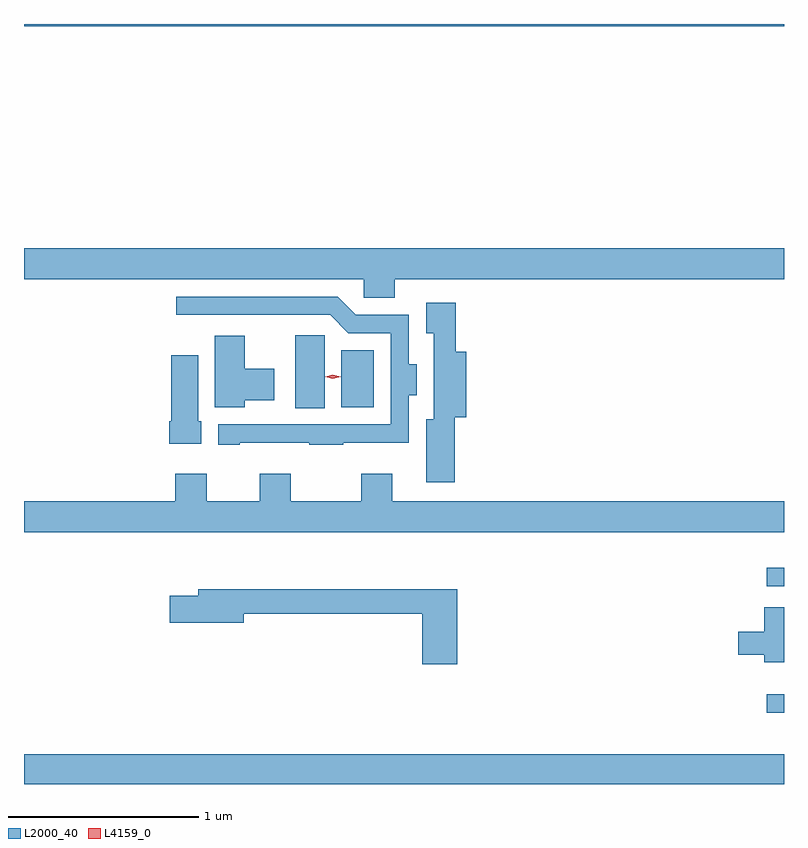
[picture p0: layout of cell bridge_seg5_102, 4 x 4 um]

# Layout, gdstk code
import gdstk
lib = gdstk.Library(unit=1e-6, precision=1e-09)
def R(c, l, rs):  # rectangles x0, y0, x1, y1
    for r in rs: c.add(gdstk.rectangle(r[:2], r[2:], *l))
def P(c, l, *ps):  # polygons
    for p in ps: c.add(gdstk.Polygon(p, *l))
L2000_40 = (2000, 40)
L4159_0 = (4159, 0)

bridge_seg5_102 = lib.new_cell('bridge_seg5_102')
R(bridge_seg5_102, L2000_40, [(537.084,875.415,541.084,875.572), (540.993,875.79,541.084,875.887), (540.993,876.456,541.084,876.554), (538.511,877.393,538.666,877.776), (538.754,877.397,538.924,877.699), (537.084,879.404,541.084,879.415)])
P(bridge_seg5_102, L2000_40, [(539.036,878.072),(541.084,878.072),(541.084,878.236),(537.084,878.236),(537.084,878.072),(538.872,878.072),(538.872,877.974),(539.036,877.974)],
  [(538.219,877.211),(538.585,877.211),(538.585,877.2),(538.763,877.2),(538.763,877.211),(539.109,877.211),(539.109,877.46),(539.152,877.46),(539.152,877.624),(539.11,877.624),(539.11,877.884),(538.83,877.884),(538.734,877.98),(537.885,877.98),(537.885,877.884),(538.695,877.884),(538.791,877.788),(539.013,877.788),(539.013,877.308),(538.107,877.308),(538.107,877.2),(538.219,877.2)],
  [(539.351,877.346),(539.411,877.346),(539.411,877.69),(539.357,877.69),(539.357,877.948),(539.201,877.948),(539.201,877.787),(539.24,877.787),(539.24,877.336),(539.201,877.336),(539.201,877.002),(539.351,877.002)],
  [(538.246,877.436),(538.402,877.436),(538.402,877.6),(538.246,877.6),(538.246,877.774),(538.088,877.774),(538.088,877.397),(538.246,877.397)],
  [(538.018,877.323),(538,877.323),(538,877.672),(537.86,877.672),(537.86,877.323),(537.848,877.323),(537.848,877.205),(538.018,877.205)],
  [(541.084,876.904),(539.023,876.904),(539.023,877.048),(538.859,877.048),(538.859,876.904),(538.489,876.904),(538.489,877.048),(538.325,877.048),(538.325,876.904),(538.045,876.904),(538.045,877.048),(537.881,877.048),(537.881,876.904),(537.084,876.904),(537.084,876.74),(541.084,876.74)],
  [(539.363,876.439),(538.001,876.439),(538.001,876.405),(537.852,876.405),(537.852,876.263),(538.24,876.263),(538.24,876.31),(539.18,876.31),(539.18,876.045),(539.363,876.045)],
  [(541.084,876.346),(540.98,876.346),(540.98,876.217),(540.843,876.217),(540.843,876.095),(540.98,876.095),(540.98,876.056),(541.084,876.056)])
P(bridge_seg5_102, L4159_0, [(538.71,877.549),(538.67,877.559),(538.67,877.559),(538.67,877.559),(538.71,877.569),(538.751,877.559),(538.751,877.559),(538.751,877.559)])

lib.write_gds('bridge_seg5_102.gds')
